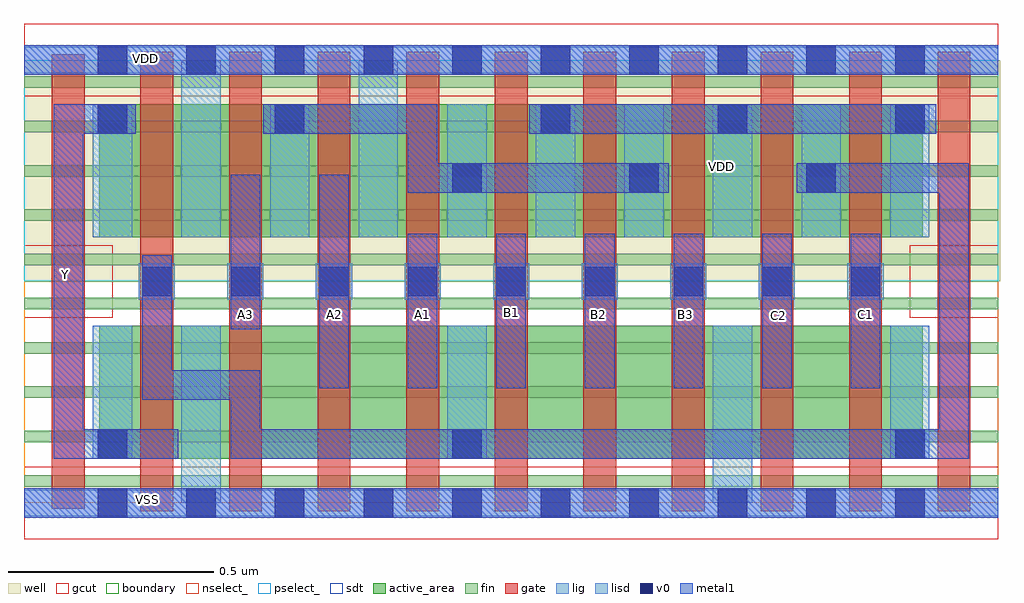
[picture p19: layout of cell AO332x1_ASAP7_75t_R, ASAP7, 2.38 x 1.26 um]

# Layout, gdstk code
import gdstk
lib = gdstk.Library(unit=1e-6, precision=2.5e-10)
def R(c, l, rs):  # rectangles x0, y0, x1, y1
    for r in rs: c.add(gdstk.rectangle(r[:2], r[2:], *l))
def A(c, l, x, y, w, h, nx, ny, dx, dy):  # array of equal rectangles
    R(c, l, [(x+i*dx, y+j*dy, x+i*dx+w, y+j*dy+h) for i in range(nx) for j in range(ny)])
def P(c, l, *ps):  # polygons
    for p in ps: c.add(gdstk.Polygon(p, *l))
well = (1, 0)
fin = (2, 0)
gate = (7, 0)
gcut = (10, 0)
active_area = (11, 0)
nselect_ = (12, 0)
pselect_ = (13, 0)
lig = (16, 0)
lisd = (17, 0)
v0 = (18, 0)
metal1 = (19, 0)
sdt = (88, 0)
boundary = (100, 0)

ao332x1_asap7_75t_r = lib.new_cell('AO332x1_ASAP7_75t_R')
R(ao332x1_asap7_75t_r, well, [(0,0.54,2.38,1.08)])
A(ao332x1_asap7_75t_r, fin, 0, 0.04, 2.376, 0.028, 1, 10, 0, 0.108)
A(ao332x1_asap7_75t_r, gate, 0.284, -0.02, 0.08, 1.12, 10, 1, 0.216, 0)
R(ao332x1_asap7_75t_r, gate, [(0.068,-0.014,0.148,1.094), (0.068,-0.014,0.148,1.094)])
R(ao332x1_asap7_75t_r, gcut, [(0,-0.088,2.376,0.088), (0,0.452,0.216,0.628), (2.16,0.452,2.376,0.628), (0,0.992,2.376,1.168)])
R(ao332x1_asap7_75t_r, active_area, [(0.184,0.108,2.192,0.432), (0.184,0.648,2.192,0.972)])
R(ao332x1_asap7_75t_r, nselect_, [(0,0,2.376,0.54)])
R(ao332x1_asap7_75t_r, pselect_, [(0,0.54,2.376,1.08)])
A(ao332x1_asap7_75t_r, lig, 0.28, 0.496, 0.088, 0.088, 9, 1, 0.216, 0)
R(ao332x1_asap7_75t_r, lig, [(0,-0.032,2.376,0.032), (0,1.048,2.376,1.112)])
A(ao332x1_asap7_75t_r, lisd, 0.168, 0.648, 0.096, 0.324, 3, 1, 0.432, 0)
A(ao332x1_asap7_75t_r, lisd, 1.248, 0.648, 0.096, 0.324, 5, 1, 0.216, 0)
R(ao332x1_asap7_75t_r, lisd, [(0.384,0,0.48,0.432), (0.384,0,0.48,0.432), (1.68,0,1.776,0.432), (0.168,0.108,0.264,0.432), (1.032,0.108,1.128,0.432), (2.112,0.108,2.208,0.432), (0.384,0.648,0.48,1.08), (0.384,0.648,0.48,1.08), (0.816,0.648,0.912,1.08)])
A(ao332x1_asap7_75t_r, v0, 0.396, -0.036, 0.072, 0.072, 9, 2, 0.216, 1.08)
A(ao332x1_asap7_75t_r, v0, 0.288, 0.504, 0.072, 0.072, 9, 1, 0.216, 0)
A(ao332x1_asap7_75t_r, v0, 1.044, 0.756, 0.072, 0.072, 3, 1, 0.432, 0)
A(ao332x1_asap7_75t_r, v0, 1.26, 0.9, 0.072, 0.072, 3, 1, 0.432, 0)
R(ao332x1_asap7_75t_r, v0, [(0.18,-0.036,0.252,0.036), (0.18,-0.036,0.252,0.036), (0.396,-0.036,0.468,0.036), (0.18,0.108,0.252,0.18), (1.044,0.108,1.116,0.18), (2.124,0.108,2.196,0.18), (0.18,0.9,0.252,0.972), (0.612,0.9,0.684,0.972), (0.18,1.044,0.252,1.116), (0.18,1.044,0.252,1.116), (0.396,1.044,0.468,1.116)])
A(ao332x1_asap7_75t_r, metal1, 0.936, 0.28, 0.072, 0.376, 6, 1, 0.216, 0)
R(ao332x1_asap7_75t_r, metal1, [(0,-0.036,2.376,0.036), (0.72,0.28,0.792,0.8), (0.504,0.424,0.576,0.8), (1.232,0.9,2.224,0.972), (0,1.044,2.376,1.116)])
P(ao332x1_asap7_75t_r, metal1, [(0.504,0.108),(0.504,0.252),(0.288,0.252),(0.288,0.604),(0.36,0.604),(0.36,0.324),(0.576,0.324),(0.576,0.18),(2.232,0.18),(2.232,0.756),(1.884,0.756),(1.884,0.828),(2.304,0.828),(2.304,0.108)],
  [(0.072,0.108),(0.072,0.972),(0.272,0.972),(0.272,0.9),(0.144,0.9),(0.144,0.18),(0.376,0.18),(0.376,0.108)],
  [(0.936,0.756),(0.936,0.9),(0.584,0.9),(0.584,0.972),(1.008,0.972),(1.008,0.828),(1.572,0.828),(1.572,0.756)])
A(ao332x1_asap7_75t_r, sdt, 0.384, 0.108, 0.096, 0.324, 3, 1, 0.648, 0)
A(ao332x1_asap7_75t_r, sdt, 0.384, 0.648, 0.096, 0.324, 9, 1, 0.216, 0)
R(ao332x1_asap7_75t_r, sdt, [(0.168,0.108,0.264,0.432), (0.168,0.108,0.264,0.432), (0.384,0.108,0.48,0.432), (2.112,0.108,2.208,0.432), (0.168,0.648,0.264,0.972), (0.168,0.648,0.264,0.972), (0.384,0.648,0.48,0.972)])
R(ao332x1_asap7_75t_r, boundary, [(0,0,2.376,1.08)])
ao332x1_asap7_75t_r.add(gdstk.Label('Y', (0.102,0.558), layer=19, texttype=251))
ao332x1_asap7_75t_r.add(gdstk.Label('VDD', (0.296,1.084), layer=19, texttype=251))
ao332x1_asap7_75t_r.add(gdstk.Label('VSS', (0.3,0.008), layer=19, texttype=251))
ao332x1_asap7_75t_r.add(gdstk.Label('C1', (2.052,0.46), layer=19, texttype=251))
ao332x1_asap7_75t_r.add(gdstk.Label('C2', (1.84,0.456), layer=19, texttype=251))
ao332x1_asap7_75t_r.add(gdstk.Label('B3', (1.612,0.46), layer=19, texttype=251))
ao332x1_asap7_75t_r.add(gdstk.Label('B2', (1.4,0.46), layer=19, texttype=251))
ao332x1_asap7_75t_r.add(gdstk.Label('B1', (1.188,0.464), layer=19, texttype=251))
ao332x1_asap7_75t_r.add(gdstk.Label('A1', (0.972,0.46), layer=19, texttype=251))
ao332x1_asap7_75t_r.add(gdstk.Label('A2', (0.756,0.46), layer=19, texttype=251))
ao332x1_asap7_75t_r.add(gdstk.Label('A3', (0.54,0.46), layer=19, texttype=251))
ao332x1_asap7_75t_r.add(gdstk.Label('VDD', (1.7,0.82), layer=1, texttype=251))
ao332x1_asap7_75t_r.add(gdstk.Label('VSS', (1.464,-0.184), layer=3, texttype=251))

lib.write_gds('AO332x1_ASAP7_75t_R.gds')
